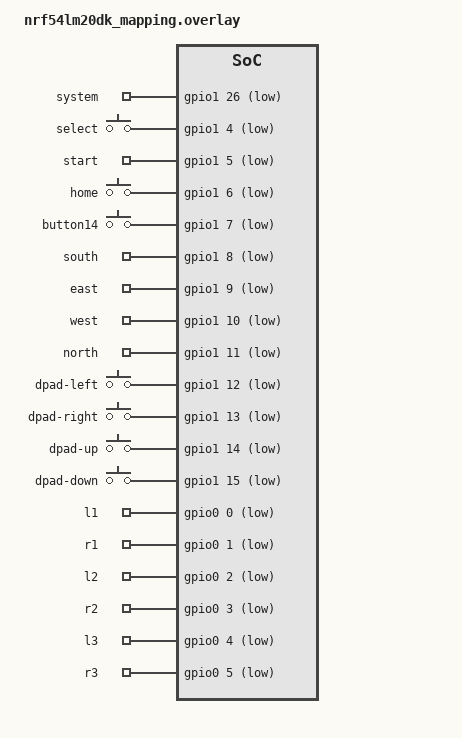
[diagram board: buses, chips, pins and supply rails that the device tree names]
/ {
    gamepad-buttons {
        compatible = "gpio-keys";
        /* the DK's own button 0 */
        system { gpios = <&gpio1 26 (GPIO_PULL_UP | GPIO_ACTIVE_LOW)>; };
        select { gpios = <&gpio1 4 (GPIO_PULL_UP | GPIO_ACTIVE_LOW)>; };
        start { gpios = <&gpio1 5 (GPIO_PULL_UP | GPIO_ACTIVE_LOW)>; };
        home { gpios = <&gpio1 6 (GPIO_PULL_UP | GPIO_ACTIVE_LOW)>; };
        button14 { gpios = <&gpio1 7 (GPIO_PULL_UP | GPIO_ACTIVE_LOW)>; };
        south { gpios = <&gpio1 8 (GPIO_PULL_UP | GPIO_ACTIVE_LOW)>; };
        east { gpios = <&gpio1 9 (GPIO_PULL_UP | GPIO_ACTIVE_LOW)>; };
        west { gpios = <&gpio1 10 (GPIO_PULL_UP | GPIO_ACTIVE_LOW)>; };
        north { gpios = <&gpio1 11 (GPIO_PULL_UP | GPIO_ACTIVE_LOW)>; };
        dpad-left { gpios = <&gpio1 12 (GPIO_PULL_UP | GPIO_ACTIVE_LOW)>; };
        dpad-right { gpios = <&gpio1 13 (GPIO_PULL_UP | GPIO_ACTIVE_LOW)>; };
        dpad-up { gpios = <&gpio1 14 (GPIO_PULL_UP | GPIO_ACTIVE_LOW)>; };
        dpad-down { gpios = <&gpio1 15 (GPIO_PULL_UP | GPIO_ACTIVE_LOW)>; };
        l1 { gpios = <&gpio0 0 (GPIO_PULL_UP | GPIO_ACTIVE_LOW)>; };
        r1 { gpios = <&gpio0 1 (GPIO_PULL_UP | GPIO_ACTIVE_LOW)>; };
        l2 { gpios = <&gpio0 2 (GPIO_PULL_UP | GPIO_ACTIVE_LOW)>; };
        r2 { gpios = <&gpio0 3 (GPIO_PULL_UP | GPIO_ACTIVE_LOW)>; };
        l3 { gpios = <&gpio0 4 (GPIO_PULL_UP | GPIO_ACTIVE_LOW)>; };
        r3 { gpios = <&gpio0 5 (GPIO_PULL_UP | GPIO_ACTIVE_LOW)>; };
    };
};
